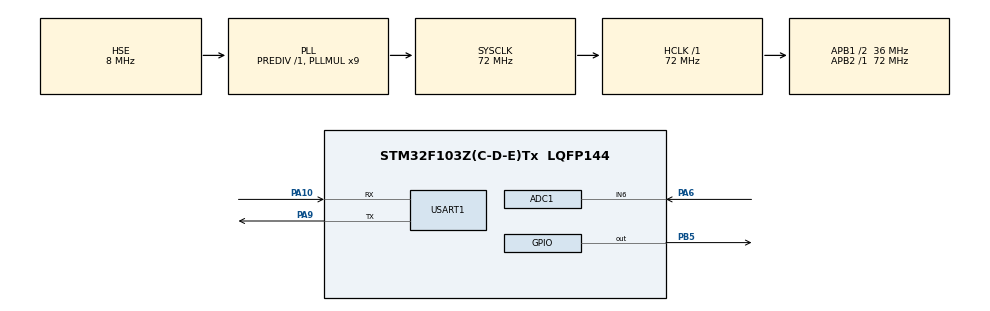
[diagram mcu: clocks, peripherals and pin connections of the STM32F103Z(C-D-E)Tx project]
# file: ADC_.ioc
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ADC1.Channel-0\#ChannelRegularConversion=ADC_CHANNEL_6
ADC1.ContinuousConvMode=ENABLE
ADC1.NbrOfConversionFlag=1
ADC1.Rank-0\#ChannelRegularConversion=1
ADC1.SamplingTime-0\#ChannelRegularConversion=ADC_SAMPLETIME_1CYCLE_5
ADC1.master=1
Mcu.Family=STM32F1
Mcu.Name=STM32F103Z(C-D-E)Tx
Mcu.Package=LQFP144
NVIC.ADC1_2_IRQn=true\:3\:0\:true\:false\:true\:true\:true\:true
NVIC.PriorityGroup=NVIC_PRIORITYGROUP_4
NVIC.RCC_IRQn=true\:0\:0\:false\:false\:true\:true\:false\:true
NVIC.USART1_IRQn=true\:4\:0\:true\:false\:true\:true\:true\:true
OSC_IN.Mode=HSE-External-Oscillator
OSC_IN.Signal=RCC_OSC_IN
OSC_OUT.Mode=HSE-External-Oscillator
OSC_OUT.Signal=RCC_OSC_OUT
PA10.GPIO_Mode=GPIO_MODE_INPUT
PA10.Mode=Asynchronous
PA10.Signal=USART1_RX
PA6.Signal=ADCx_IN6
PA9.GPIO_Mode=GPIO_MODE_AF_PP
PA9.Mode=Asynchronous
PA9.Signal=USART1_TX
PB5.GPIO_Speed=GPIO_SPEED_FREQ_HIGH
PB5.PinState=GPIO_PIN_RESET
PB5.Signal=GPIO_Output
ProjectManager.HeapSize=0x200
ProjectManager.StackSize=0x400
ProjectManager.TargetToolchain=MDK-ARM V5.32
RCC.ADCPresc=RCC_ADCPCLK2_DIV6
RCC.AHBFreq_Value=72000000
RCC.APB1CLKDivider=RCC_HCLK_DIV2
RCC.APB1Freq_Value=36000000
RCC.APB1TimFreq_Value=72000000
RCC.APB2Freq_Value=72000000
RCC.APB2TimFreq_Value=72000000
RCC.EnbaleCSS=true
RCC.HCLKFreq_Value=72000000
RCC.PLLMUL=RCC_PLL_MUL9
RCC.PLLSourceVirtual=RCC_PLLSOURCE_HSE
RCC.SYSCLKFreq_VALUE=72000000
RCC.SYSCLKSource=RCC_SYSCLKSOURCE_PLLCLK
RCC.USBFreq_Value=72000000
SH.ADCx_IN6.0=ADC1_IN6,IN6
USART1.VirtualMode=VM_ASYNC
VP_SYS_VS_ND.Mode=No_Debug
board=custom

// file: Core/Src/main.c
/* USER CODE BEGIN Header */
/**
  ******************************************************************************
  * @file           : main.c
  * @brief          : Main program body
  ******************************************************************************
  * @attention
  *
  * Copyright (c) 2024 STMicroelectronics.
  * All rights reserved.
  *
  * This software is licensed under terms that can be found in the LICENSE file
  * in the root directory of this software component.
  * If no LICENSE file comes with this software, it is provided AS-IS.
  *
  ******************************************************************************
  */
/* USER CODE END Header */
#include "main.h"
#include "adc.h"
#include "usart.h"
#include "gpio.h"

/* USER CODE BEGIN Includes */

#include <stdio.h>
#include <string.h>

#include "bsp_adc\bsp_adc.h"

/* USER CODE END Includes */

/* USER CODE BEGIN PTD */
uint32_t GetADC_Value = 0;
float Vout_value;

/* USER CODE END PTD */

/* USER CODE BEGIN PV */

int fputc(int ch,FILE *f)

{

	HAL_UART_Transmit(&huart1,(uint8_t *)&ch,1,HAL_MAX_DELAY);

	return ch;

}

/* USER CODE END PV */

void SystemClock_Config(void);

int main(void)
{

  /* MCU Configuration--------------------------------------------------------*/

  /* Reset of all peripherals, Initializes the Flash interface and the Systick. */
  HAL_Init();

  /* Configure the system clock */
  SystemClock_Config();

  /* Initialize all configured peripherals */
  MX_GPIO_Init();
  MX_ADC1_Init();
  MX_USART1_UART_Init();
  /* USER CODE BEGIN 2 */
	printf("STM");
  /* USER CODE END 2 */

  /* Infinite loop */
  /* USER CODE BEGIN WHILE */
  while (1)
  {

		GetADC_Value = ADC_X_Get();
		Vout_value = GetADC_Value / 4096.0 * 3.3;

		printf("ADC read value : %d \r\n",GetADC_Value);
		printf("change voltage value : %.2f \r\n",Vout_value);
		HAL_GPIO_TogglePin(GPIOB,GPIO_PIN_5);
		HAL_Delay(1000);

    /* USER CODE END WHILE */

  }
}

void SystemClock_Config(void)
{
  RCC_OscInitTypeDef RCC_OscInitStruct = {0};
  RCC_ClkInitTypeDef RCC_ClkInitStruct = {0};
  RCC_PeriphCLKInitTypeDef PeriphClkInit = {0};

  /** Initializes the RCC Oscillators according to the specified parameters
  * in the RCC_OscInitTypeDef structure.
  */
  RCC_OscInitStruct.OscillatorType = RCC_OSCILLATORTYPE_HSE;
  RCC_OscInitStruct.HSEState = RCC_HSE_ON;
  RCC_OscInitStruct.HSEPredivValue = RCC_HSE_PREDIV_DIV1;
  RCC_OscInitStruct.HSIState = RCC_HSI_ON;
  RCC_OscInitStruct.PLL.PLLState = RCC_PLL_ON;
  RCC_OscInitStruct.PLL.PLLSource = RCC_PLLSOURCE_HSE;
  RCC_OscInitStruct.PLL.PLLMUL = RCC_PLL_MUL9;
  if (HAL_RCC_OscConfig(&RCC_OscInitStruct) != HAL_OK)
  {
    Error_Handler();
  }

  /** Initializes the CPU, AHB and APB buses clocks
  */
  RCC_ClkInitStruct.ClockType = RCC_CLOCKTYPE_HCLK|RCC_CLOCKTYPE_SYSCLK
                              |RCC_CLOCKTYPE_PCLK1|RCC_CLOCKTYPE_PCLK2;
  RCC_ClkInitStruct.SYSCLKSource = RCC_SYSCLKSOURCE_PLLCLK;
  RCC_ClkInitStruct.AHBCLKDivider = RCC_SYSCLK_DIV1;
  RCC_ClkInitStruct.APB1CLKDivider = RCC_HCLK_DIV2;
  RCC_ClkInitStruct.APB2CLKDivider = RCC_HCLK_DIV1;

  if (HAL_RCC_ClockConfig(&RCC_ClkInitStruct, FLASH_LATENCY_2) != HAL_OK)
  {
    Error_Handler();
  }
  PeriphClkInit.PeriphClockSelection = RCC_PERIPHCLK_ADC;
  PeriphClkInit.AdcClockSelection = RCC_ADCPCLK2_DIV6;
  if (HAL_RCCEx_PeriphCLKConfig(&PeriphClkInit) != HAL_OK)
  {
    Error_Handler();
  }

  /** Enables the Clock Security System
  */
  HAL_RCC_EnableCSS();
}

void Error_Handler(void)
{
  __disable_irq();
  while (1)
  {
  }
}
